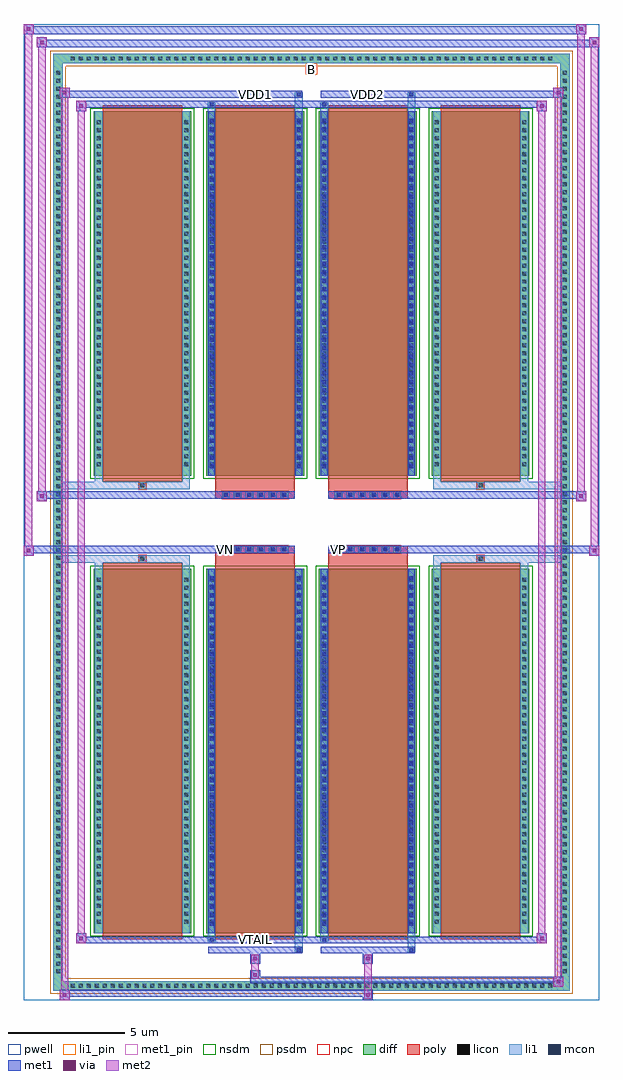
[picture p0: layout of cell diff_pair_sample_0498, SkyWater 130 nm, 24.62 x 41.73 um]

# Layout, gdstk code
import gdstk
lib = gdstk.Library(unit=1e-6, precision=5e-09)
def R(c, l, rs):  # rectangles x0, y0, x1, y1
    for r in rs: c.add(gdstk.rectangle(r[:2], r[2:], *l))
def A(c, l, x, y, w, h, nx, ny, dx, dy):  # array of equal rectangles
    R(c, l, [(x+i*dx, y+j*dy, x+i*dx+w, y+j*dy+h) for i in range(nx) for j in range(ny)])
def P(c, l, *ps):  # polygons
    for p in ps: c.add(gdstk.Polygon(p, *l))
pwell = (64, 44)
diff = (65, 20)
poly = (66, 20)
licon = (66, 44)
li1_pin = (67, 16)
li1 = (67, 20)
mcon = (67, 44)
met1_pin = (68, 16)
met1 = (68, 20)
via = (68, 44)
met2 = (69, 20)
nsdm = (93, 44)
psdm = (94, 20)
npc = (95, 20)

diff_pair_sample_0498 = lib.new_cell('diff_pair_sample_0498')
R(diff_pair_sample_0498, pwell, [(-12.31,-20.43,12.31,21.3), (-9.63,-18.62,-0.01,-0.8), (0.01,-18.62,9.63,-0.8), (-9.63,0.8,-0.01,18.62), (0.01,0.8,9.63,18.62)])
A(diff_pair_sample_0498, diff, -10.405, -20.03, 0.41, 0.41, 61, 2, 0.34, 39.65)
A(diff_pair_sample_0498, diff, -11.04, -19.415, 0.41, 0.41, 1, 114, 0, 0.34)
A(diff_pair_sample_0498, diff, 10.63, -19.415, 0.41, 0.41, 1, 114, 0, 0.34)
A(diff_pair_sample_0498, diff, -9.32, -17.575, 4.18, 15.59, 4, 2, 4.82, 19.56)
R(diff_pair_sample_0498, diff, [(-10.405,-20.03,10.405,-19.62), (-11.04,-19.415,-10.63,19.415), (10.63,-19.415,11.04,19.415), (-10.405,19.62,10.405,20.03)])
P(diff_pair_sample_0498, diff, [(11.04,20.03),(-11.04,20.03),(-11.04,-19.62),(-10.63,-19.62),(-10.63,19.62),(10.63,19.62),(10.63,-19.62),(-10.63,-19.62),(-11.04,-19.62),(-11.04,-20.03),(11.04,-20.03)])
A(diff_pair_sample_0498, poly, -8.93, -17.825, 3.4, 16.09, 4, 2, 4.82, 19.56)
A(diff_pair_sample_0498, poly, -3.825, -1.33, 0.33, 0.33, 6, 2, 0.5, 2.33)
A(diff_pair_sample_0498, poly, 0.995, -1.33, 0.33, 0.33, 6, 2, 0.5, 2.33)
R(diff_pair_sample_0498, poly, [(-7.395,-1.735,-7.065,-1.405), (-7.395,-1.735,-7.065,-1.405), (-4.11,-1.735,-0.71,-1.33), (0.71,-1.735,4.11,-1.33), (7.065,-1.735,7.395,-1.405), (7.065,-1.735,7.395,-1.405), (-4.11,-1.33,-0.71,-1), (0.71,-1.33,4.11,-1), (-4.11,1,-0.71,1.33), (0.71,1,4.11,1.33), (-4.11,1.33,-0.71,1.735), (0.71,1.33,4.11,1.735), (-7.395,1.405,-7.065,1.735), (-7.395,1.405,-7.065,1.735), (7.065,1.405,7.395,1.735), (7.065,1.405,7.395,1.735)])
A(diff_pair_sample_0498, licon, -10.285, -19.91, 0.17, 0.17, 61, 2, 0.34, 39.65)
A(diff_pair_sample_0498, licon, -10.92, -19.295, 0.17, 0.17, 1, 114, 0, 0.34)
A(diff_pair_sample_0498, licon, 10.75, -19.295, 0.17, 0.17, 1, 114, 0, 0.34)
A(diff_pair_sample_0498, licon, -9.18, -17.175, 0.17, 0.17, 1, 44, 0, 0.34)
A(diff_pair_sample_0498, licon, -5.45, -17.175, 0.17, 0.17, 1, 44, 0, 0.34)
A(diff_pair_sample_0498, licon, -4.36, -17.175, 0.17, 0.17, 1, 44, 0, 0.34)
A(diff_pair_sample_0498, licon, -0.63, -17.175, 0.17, 0.17, 1, 44, 0, 0.34)
A(diff_pair_sample_0498, licon, 0.46, -17.175, 0.17, 0.17, 1, 44, 0, 0.34)
A(diff_pair_sample_0498, licon, 4.19, -17.175, 0.17, 0.17, 1, 44, 0, 0.34)
A(diff_pair_sample_0498, licon, 5.28, -17.175, 0.17, 0.17, 1, 44, 0, 0.34)
A(diff_pair_sample_0498, licon, 9.01, -17.175, 0.17, 0.17, 1, 44, 0, 0.34)
A(diff_pair_sample_0498, licon, -3.745, -1.25, 0.17, 0.17, 6, 2, 0.5, 2.33)
A(diff_pair_sample_0498, licon, 1.075, -1.25, 0.17, 0.17, 6, 2, 0.5, 2.33)
A(diff_pair_sample_0498, licon, -9.18, 2.385, 0.17, 0.17, 1, 44, 0, 0.34)
A(diff_pair_sample_0498, licon, -5.45, 2.385, 0.17, 0.17, 1, 44, 0, 0.34)
A(diff_pair_sample_0498, licon, -4.36, 2.385, 0.17, 0.17, 1, 44, 0, 0.34)
A(diff_pair_sample_0498, licon, -0.63, 2.385, 0.17, 0.17, 1, 44, 0, 0.34)
A(diff_pair_sample_0498, licon, 0.46, 2.385, 0.17, 0.17, 1, 44, 0, 0.34)
A(diff_pair_sample_0498, licon, 4.19, 2.385, 0.17, 0.17, 1, 44, 0, 0.34)
A(diff_pair_sample_0498, licon, 5.28, 2.385, 0.17, 0.17, 1, 44, 0, 0.34)
A(diff_pair_sample_0498, licon, 9.01, 2.385, 0.17, 0.17, 1, 44, 0, 0.34)
R(diff_pair_sample_0498, licon, [(-7.315,-1.655,-7.145,-1.485), (7.145,-1.655,7.315,-1.485), (-7.315,1.485,-7.145,1.655), (7.145,1.485,7.315,1.655)])
R(diff_pair_sample_0498, li1_pin, [(-0.25,19.12,0.25,19.62)])
A(diff_pair_sample_0498, li1, -10.365, -19.99, 0.33, 0.33, 61, 2, 0.34, 39.65)
A(diff_pair_sample_0498, li1, -11, -19.375, 0.33, 0.33, 1, 114, 0, 0.34)
A(diff_pair_sample_0498, li1, 10.67, -19.375, 0.33, 0.33, 1, 114, 0, 0.34)
A(diff_pair_sample_0498, li1, -9.26, -17.255, 0.33, 0.33, 1, 44, 0, 0.34)
A(diff_pair_sample_0498, li1, -5.53, -17.255, 0.33, 0.33, 1, 44, 0, 0.34)
A(diff_pair_sample_0498, li1, -4.44, -17.255, 0.33, 0.33, 1, 44, 0, 0.34)
A(diff_pair_sample_0498, li1, -0.71, -17.255, 0.33, 0.33, 1, 44, 0, 0.34)
A(diff_pair_sample_0498, li1, 0.38, -17.255, 0.33, 0.33, 1, 44, 0, 0.34)
A(diff_pair_sample_0498, li1, 4.11, -17.255, 0.33, 0.33, 1, 44, 0, 0.34)
A(diff_pair_sample_0498, li1, 5.2, -17.255, 0.33, 0.33, 1, 44, 0, 0.34)
A(diff_pair_sample_0498, li1, 8.93, -17.255, 0.33, 0.33, 1, 44, 0, 0.34)
A(diff_pair_sample_0498, li1, -4.36, -17.245, 0.17, 0.17, 1, 42, 0, 0.36)
A(diff_pair_sample_0498, li1, -0.63, -17.245, 0.17, 0.17, 1, 42, 0, 0.36)
A(diff_pair_sample_0498, li1, 0.46, -17.245, 0.17, 0.17, 1, 42, 0, 0.36)
A(diff_pair_sample_0498, li1, 4.19, -17.245, 0.17, 0.17, 1, 42, 0, 0.36)
A(diff_pair_sample_0498, li1, -3.825, -1.33, 0.33, 0.33, 6, 2, 0.5, 2.33)
A(diff_pair_sample_0498, li1, 0.995, -1.33, 0.33, 0.33, 6, 2, 0.5, 2.33)
A(diff_pair_sample_0498, li1, -9.26, 2.305, 0.33, 0.33, 1, 44, 0, 0.34)
A(diff_pair_sample_0498, li1, -5.53, 2.305, 0.33, 0.33, 1, 44, 0, 0.34)
A(diff_pair_sample_0498, li1, -4.44, 2.305, 0.33, 0.33, 1, 44, 0, 0.34)
A(diff_pair_sample_0498, li1, -0.71, 2.305, 0.33, 0.33, 1, 44, 0, 0.34)
A(diff_pair_sample_0498, li1, 0.38, 2.305, 0.33, 0.33, 1, 44, 0, 0.34)
A(diff_pair_sample_0498, li1, 4.11, 2.305, 0.33, 0.33, 1, 44, 0, 0.34)
A(diff_pair_sample_0498, li1, 5.2, 2.305, 0.33, 0.33, 1, 44, 0, 0.34)
A(diff_pair_sample_0498, li1, 8.93, 2.305, 0.33, 0.33, 1, 44, 0, 0.34)
A(diff_pair_sample_0498, li1, -4.36, 2.315, 0.17, 0.17, 1, 42, 0, 0.36)
A(diff_pair_sample_0498, li1, -0.63, 2.315, 0.17, 0.17, 1, 42, 0, 0.36)
A(diff_pair_sample_0498, li1, 0.46, 2.315, 0.17, 0.17, 1, 42, 0, 0.36)
A(diff_pair_sample_0498, li1, 4.19, 2.315, 0.17, 0.17, 1, 42, 0, 0.36)
R(diff_pair_sample_0498, li1, [(-11.04,-20.03,-10.63,-19.62), (-11.04,-20.03,-10.63,-19.62), (-10.63,-20.03,10.63,-19.62), (10.63,-20.03,11.04,-19.62), (10.63,-20.03,11.04,-19.62), (-11.04,-19.62,-10.63,19.62), (10.63,-19.62,11.04,19.62), (-0.71,-18.38,-0.38,-17.575), (-0.63,-18.38,-0.46,-18.21), (4.11,-18.38,4.44,-17.575), (4.19,-18.38,4.36,-18.21), (-4.44,-17.95,-4.11,-17.575), (-4.36,-17.95,-4.19,-17.78), (0.38,-17.95,0.71,-17.575), (0.46,-17.95,0.63,-17.78), (-9.26,-17.575,-8.93,-1.985), (-5.53,-17.575,-5.2,-1.985), (-4.44,-17.575,-4.11,-1.985), (-0.71,-17.575,-0.38,-1.985), (0.38,-17.575,0.71,-1.985), (4.11,-17.575,4.44,-1.985), (5.2,-17.575,5.53,-1.985), (8.93,-17.575,9.26,-1.985), (-4.36,-17.245,-4.19,-2.315), (-0.63,-17.245,-0.46,-2.315), (0.46,-17.245,0.63,-2.315), (4.19,-17.245,4.36,-2.315), (-9.26,-1.985,-8.93,-1.405), (-5.53,-1.985,-5.2,-1.405), (5.2,-1.985,5.53,-1.405), (8.93,-1.985,9.26,-1.405), (-11.04,-1.735,-7.395,-1.405), (-9.26,-1.735,-7.395,-1.405), (-7.395,-1.735,-7.065,-1.405), (-7.065,-1.735,-5.2,-1.405), (5.2,-1.735,7.065,-1.405), (7.065,-1.735,7.395,-1.405), (7.065,-1.735,11.04,-1.405), (7.395,-1.735,9.26,-1.405), (-11.04,1.405,-7.395,1.735), (-9.26,1.405,-7.395,1.735), (-9.26,1.405,-8.93,1.985), (-7.395,1.405,-7.065,1.735), (-7.065,1.405,-5.2,1.735), (-5.53,1.405,-5.2,1.985), (5.2,1.405,7.065,1.735), (5.2,1.405,5.53,1.985), (7.065,1.405,7.395,1.735), (7.065,1.405,11.04,1.735), (7.395,1.405,9.26,1.735), (8.93,1.405,9.26,1.985), (-9.26,1.985,-8.93,17.575), (-5.53,1.985,-5.2,17.575), (-4.44,1.985,-4.11,17.575), (-0.71,1.985,-0.38,17.575), (0.38,1.985,0.71,17.575), (4.11,1.985,4.44,17.575), (5.2,1.985,5.53,17.575), (8.93,1.985,9.26,17.575), (-4.36,2.315,-4.19,17.245), (-0.63,2.315,-0.46,17.245), (0.46,2.315,0.63,17.245), (4.19,2.315,4.36,17.245), (-4.44,17.575,-4.11,17.95), (-0.71,17.575,-0.38,18.38), (0.38,17.575,0.71,17.95), (4.11,17.575,4.44,18.38), (-4.36,17.78,-4.19,17.95), (0.46,17.78,0.63,17.95), (-0.63,18.21,-0.46,18.38), (4.19,18.21,4.36,18.38), (-11.04,19.62,-10.63,20.03), (-11.04,19.62,-10.63,20.03), (-10.63,19.62,10.63,20.03), (10.63,19.62,11.04,20.03), (10.63,19.62,11.04,20.03)])
A(diff_pair_sample_0498, mcon, -4.36, -17.245, 0.17, 0.17, 1, 42, 0, 0.36)
A(diff_pair_sample_0498, mcon, -0.63, -17.245, 0.17, 0.17, 1, 42, 0, 0.36)
A(diff_pair_sample_0498, mcon, 0.46, -17.245, 0.17, 0.17, 1, 42, 0, 0.36)
A(diff_pair_sample_0498, mcon, 4.19, -17.245, 0.17, 0.17, 1, 42, 0, 0.36)
A(diff_pair_sample_0498, mcon, -3.745, -1.25, 0.17, 0.17, 6, 2, 0.5, 2.33)
A(diff_pair_sample_0498, mcon, 1.075, -1.25, 0.17, 0.17, 6, 2, 0.5, 2.33)
A(diff_pair_sample_0498, mcon, -4.36, 2.315, 0.17, 0.17, 1, 42, 0, 0.36)
A(diff_pair_sample_0498, mcon, -0.63, 2.315, 0.17, 0.17, 1, 42, 0, 0.36)
A(diff_pair_sample_0498, mcon, 0.46, 2.315, 0.17, 0.17, 1, 42, 0, 0.36)
A(diff_pair_sample_0498, mcon, 4.19, 2.315, 0.17, 0.17, 1, 42, 0, 0.36)
R(diff_pair_sample_0498, mcon, [(-0.63,-18.38,-0.46,-18.21), (4.19,-18.38,4.36,-18.21), (-4.36,-17.95,-4.19,-17.78), (0.46,-17.95,0.63,-17.78), (-4.36,17.78,-4.19,17.95), (0.46,17.78,0.63,17.95), (-0.63,18.21,-0.46,18.38), (4.19,18.21,4.36,18.38)])
R(diff_pair_sample_0498, met1_pin, [(-2.545,-17.99,-2.275,-17.72), (-3.795,-1.29,-3.525,-1.02), (1.025,-1.29,1.295,-1.02), (-2.545,18.17,-2.275,18.44), (2.275,18.17,2.545,18.44)])
A(diff_pair_sample_0498, met1, -4.42, -17.305, 0.29, 0.29, 1, 42, 0, 0.36)
A(diff_pair_sample_0498, met1, -0.69, -17.305, 0.29, 0.29, 1, 42, 0, 0.36)
A(diff_pair_sample_0498, met1, 0.4, -17.305, 0.29, 0.29, 1, 42, 0, 0.36)
A(diff_pair_sample_0498, met1, 4.13, -17.305, 0.29, 0.29, 1, 42, 0, 0.36)
A(diff_pair_sample_0498, met1, -3.805, -1.31, 0.29, 0.29, 6, 2, 0.5, 2.33)
A(diff_pair_sample_0498, met1, 1.015, -1.31, 0.29, 0.29, 6, 2, 0.5, 2.33)
A(diff_pair_sample_0498, met1, -4.42, 2.255, 0.29, 0.29, 1, 42, 0, 0.36)
A(diff_pair_sample_0498, met1, -0.69, 2.255, 0.29, 0.29, 1, 42, 0, 0.36)
A(diff_pair_sample_0498, met1, 0.4, 2.255, 0.29, 0.29, 1, 42, 0, 0.36)
A(diff_pair_sample_0498, met1, 4.13, 2.255, 0.29, 0.29, 1, 42, 0, 0.36)
R(diff_pair_sample_0498, met1, [(-10.77,-20.43,-10.34,-20), (2.195,-20.43,2.625,-20), (-10.77,-20.29,2.625,-20), (10.34,-19.86,10.77,-19.43), (-2.625,-19.72,10.77,-19.43), (-2.625,-19.58,-2.195,-19.15), (-2.625,-18.87,-2.195,-18.44), (2.195,-18.87,2.625,-18.44), (-4.42,-18.44,-0.4,-18.15), (-0.69,-18.44,-0.4,-18.15), (0.4,-18.44,4.42,-18.15), (4.13,-18.44,4.42,-18.15), (-10.06,-18.01,-9.63,-17.58), (-10.06,-18.01,-4.42,-17.72), (-4.42,-18.01,-4.13,-17.72), (-4.42,-18.01,-0.4,-17.72), (-0.4,-18.01,0.4,-17.72), (0.4,-18.01,0.69,-17.72), (0.4,-18.01,4.42,-17.72), (4.42,-18.01,10.06,-17.72), (9.63,-18.01,10.06,-17.58), (-4.42,-17.575,-4.13,-1.985), (-0.69,-17.575,-0.4,-1.985), (0.4,-17.575,0.69,-1.985), (4.13,-17.575,4.42,-1.985), (-12.31,-1.43,-11.88,-1), (11.88,-1.43,12.31,-1), (-12.31,-1.33,-0.71,-1), (-4.11,-1.33,-0.71,-1), (0.71,-1.33,4.11,-1), (0.71,-1.33,12.31,-1), (-11.74,0.9,-11.31,1.33), (11.31,0.9,11.74,1.33), (-11.74,1,-4.11,1.33), (-4.11,1,-0.71,1.33), (0.71,1,4.11,1.33), (4.11,1,11.74,1.33), (-4.42,1.985,-4.13,17.575), (-0.69,1.985,-0.4,17.575), (0.4,1.985,0.69,17.575), (4.13,1.985,4.42,17.575), (-10.06,17.58,-9.63,18.01), (9.63,17.58,10.06,18.01), (-10.06,17.72,-4.42,18.01), (-4.42,17.72,-4.13,18.01), (-4.42,17.72,-0.4,18.01), (-0.4,17.72,0.4,18.01), (0.4,17.72,0.69,18.01), (0.4,17.72,4.42,18.01), (4.42,17.72,10.06,18.01), (-10.77,18.15,-10.34,18.58), (-10.77,18.15,-4.42,18.44), (-4.42,18.15,-0.4,18.44), (-0.69,18.15,-0.4,18.44), (0.4,18.15,4.42,18.44), (4.13,18.15,4.42,18.44), (4.42,18.15,10.77,18.44), (10.34,18.15,10.77,18.58), (-11.74,20.3,-11.31,20.73), (-11.74,20.3,-9.63,20.63), (-9.63,20.3,9.63,20.63), (9.63,20.3,12.31,20.63), (11.88,20.3,12.31,20.73), (-12.31,20.87,-11.88,21.3), (-12.31,20.87,-9.63,21.2), (-9.63,20.87,9.63,21.2), (9.63,20.87,11.74,21.2), (11.31,20.87,11.74,21.3)])
R(diff_pair_sample_0498, via, [(-10.63,-20.29,-10.48,-20.14), (2.335,-20.29,2.485,-20.14), (10.48,-19.72,10.63,-19.57), (-2.485,-19.44,-2.335,-19.29), (-2.485,-18.73,-2.335,-18.58), (2.335,-18.73,2.485,-18.58), (-9.92,-17.87,-9.77,-17.72), (9.77,-17.87,9.92,-17.72), (-12.17,-1.29,-12.02,-1.14), (12.02,-1.29,12.17,-1.14), (-11.6,1.04,-11.45,1.19), (11.45,1.04,11.6,1.19), (-9.92,17.72,-9.77,17.87), (9.77,17.72,9.92,17.87), (-10.63,18.29,-10.48,18.44), (10.48,18.29,10.63,18.44), (-11.6,20.44,-11.45,20.59), (12.02,20.44,12.17,20.59), (-12.17,21.01,-12.02,21.16), (11.45,21.01,11.6,21.16)])
R(diff_pair_sample_0498, met2, [(-10.77,-20.43,-10.34,-20), (-10.7,-20.43,-10.41,18.58), (-10.41,-20.43,-10.34,-20), (-10.72,-20.38,-10.39,-20.05), (2.245,-20.38,2.575,-20.05), (2.245,-20.05,2.575,-18.82), (10.34,-19.86,10.77,-19.43), (10.41,-19.86,10.7,18.58), (10.7,-19.86,10.77,-19.43), (10.39,-19.81,10.72,-19.48), (-2.575,-19.53,-2.245,-19.2), (-2.575,-19.2,-2.245,-18.82), (-2.575,-18.82,-2.245,-18.49), (2.245,-18.82,2.575,-18.49), (-10.06,-18.01,-9.63,-17.58), (-9.99,-18.01,-9.7,18.01), (-9.7,-18.01,-9.63,-17.58), (9.63,-18.01,10.06,-17.58), (9.7,-18.01,9.99,18.01), (9.99,-18.01,10.06,-17.58), (-10.01,-17.96,-9.68,-17.63), (9.68,-17.96,10.01,-17.63), (-12.31,-1.43,-11.88,-1), (-12.26,-1.43,-11.93,21.3), (-11.93,-1.43,-11.88,-1), (11.88,-1.43,12.31,-1), (11.93,-1.43,12.26,20.73), (12.26,-1.43,12.31,-1), (-12.26,-1.38,-11.93,-1.05), (11.93,-1.38,12.26,-1.05), (-11.74,0.9,-11.31,1.33), (-11.69,0.9,-11.36,20.73), (-11.36,0.9,-11.31,1.33), (11.31,0.9,11.74,1.33), (11.36,0.9,11.69,21.3), (11.69,0.9,11.74,1.33), (-11.69,0.95,-11.36,1.28), (11.36,0.95,11.69,1.28), (-10.06,17.58,-9.63,18.01), (-9.7,17.58,-9.63,18.01), (9.63,17.58,10.06,18.01), (9.99,17.58,10.06,18.01), (-10.01,17.63,-9.68,17.96), (9.68,17.63,10.01,17.96), (-10.77,18.15,-10.34,18.58), (-10.41,18.15,-10.34,18.58), (10.34,18.15,10.77,18.58), (10.7,18.15,10.77,18.58), (-10.72,18.2,-10.39,18.53), (10.39,18.2,10.72,18.53), (-11.74,20.3,-11.31,20.73), (-11.36,20.3,-11.31,20.73), (11.88,20.3,12.31,20.73), (12.26,20.3,12.31,20.73), (-11.69,20.35,-11.36,20.68), (11.93,20.35,12.26,20.68), (-12.31,20.87,-11.88,21.3), (-11.93,20.87,-11.88,21.3), (11.31,20.87,11.74,21.3), (11.69,20.87,11.74,21.3), (-12.26,20.92,-11.93,21.25), (11.36,20.92,11.69,21.25)])
A(diff_pair_sample_0498, nsdm, -9.45, -17.705, 4.44, 15.85, 4, 2, 4.82, 19.56)
P(diff_pair_sample_0498, psdm, [(11.17,20.16),(-11.17,20.16),(-11.17,-19.49),(-10.5,-19.49),(-10.5,19.49),(10.5,19.49),(10.5,-19.49),(-10.5,-19.49),(-11.17,-19.49),(-11.17,-20.16),(11.17,-20.16)])
A(diff_pair_sample_0498, npc, -3.845, -1.35, 0.37, 0.37, 6, 2, 0.5, 2.33)
A(diff_pair_sample_0498, npc, 0.975, -1.35, 0.37, 0.37, 6, 2, 0.5, 2.33)
R(diff_pair_sample_0498, npc, [(-7.415,-1.755,-7.045,-1.385), (7.045,-1.755,7.415,-1.385), (-3.845,-1.35,-2.975,-0.98), (-3.845,-1.35,-2.975,-0.98), (-3.345,-1.35,-2.475,-0.98), (-3.345,-1.35,-2.475,-0.98), (-2.845,-1.35,-1.975,-0.98), (-2.845,-1.35,-1.975,-0.98), (-2.345,-1.35,-1.475,-0.98), (-2.345,-1.35,-1.475,-0.98), (-1.845,-1.35,-0.975,-0.98), (-1.845,-1.35,-0.975,-0.98), (0.975,-1.35,1.845,-0.98), (0.975,-1.35,1.845,-0.98), (1.475,-1.35,2.345,-0.98), (1.475,-1.35,2.345,-0.98), (1.975,-1.35,2.845,-0.98), (1.975,-1.35,2.845,-0.98), (2.475,-1.35,3.345,-0.98), (2.475,-1.35,3.345,-0.98), (2.975,-1.35,3.845,-0.98), (2.975,-1.35,3.845,-0.98), (-3.845,0.98,-2.975,1.35), (-3.845,0.98,-2.975,1.35), (-3.345,0.98,-2.475,1.35), (-3.345,0.98,-2.475,1.35), (-2.845,0.98,-1.975,1.35), (-2.845,0.98,-1.975,1.35), (-2.345,0.98,-1.475,1.35), (-2.345,0.98,-1.475,1.35), (-1.845,0.98,-0.975,1.35), (-1.845,0.98,-0.975,1.35), (0.975,0.98,1.845,1.35), (0.975,0.98,1.845,1.35), (1.475,0.98,2.345,1.35), (1.475,0.98,2.345,1.35), (1.975,0.98,2.845,1.35), (1.975,0.98,2.845,1.35), (2.475,0.98,3.345,1.35), (2.475,0.98,3.345,1.35), (2.975,0.98,3.845,1.35), (2.975,0.98,3.845,1.35), (-7.415,1.385,-7.045,1.755), (7.045,1.385,7.415,1.755)])
diff_pair_sample_0498.add(gdstk.Label('VTAIL', (-2.41,-17.855), layer=68, texttype=5))
diff_pair_sample_0498.add(gdstk.Label('VN', (-3.66,-1.155), layer=68, texttype=5))
diff_pair_sample_0498.add(gdstk.Label('VP', (1.16,-1.155), layer=68, texttype=5))
diff_pair_sample_0498.add(gdstk.Label('B', (0,19.37), layer=67, texttype=5))
diff_pair_sample_0498.add(gdstk.Label('VDD2', (2.41,18.305), layer=68, texttype=5))
diff_pair_sample_0498.add(gdstk.Label('VDD1', (-2.41,18.305), layer=68, texttype=5))

lib.write_gds('diff_pair_sample_0498.gds')
